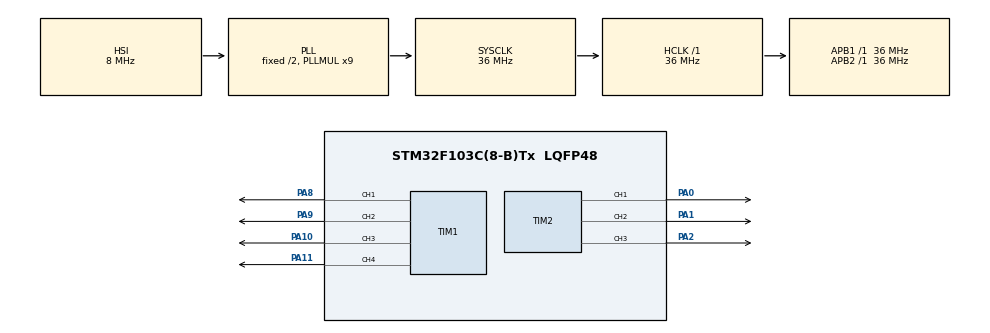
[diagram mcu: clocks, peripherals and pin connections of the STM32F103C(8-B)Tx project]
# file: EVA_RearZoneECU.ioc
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Dma.Request0=TIM1_CH1
Dma.Request1=TIM1_CH2
Dma.Request2=TIM1_CH3
Dma.Request3=TIM1_CH4/TRIG/COM
Dma.Request4=TIM2_CH1
Dma.Request5=TIM2_CH2/CH4
Dma.Request6=TIM2_CH3
Dma.TIM1_CH1.0.Direction=DMA_MEMORY_TO_PERIPH
Dma.TIM1_CH1.0.Instance=DMA1_Channel2
Dma.TIM1_CH1.0.MemDataAlignment=DMA_MDATAALIGN_BYTE
Dma.TIM1_CH1.0.MemInc=DMA_MINC_ENABLE
Dma.TIM1_CH1.0.Mode=DMA_NORMAL
Dma.TIM1_CH1.0.PeriphDataAlignment=DMA_PDATAALIGN_HALFWORD
Dma.TIM1_CH1.0.PeriphInc=DMA_PINC_DISABLE
Dma.TIM1_CH1.0.Priority=DMA_PRIORITY_LOW
Dma.TIM1_CH2.1.Direction=DMA_MEMORY_TO_PERIPH
Dma.TIM1_CH2.1.Instance=DMA1_Channel3
Dma.TIM1_CH2.1.MemDataAlignment=DMA_MDATAALIGN_BYTE
Dma.TIM1_CH2.1.MemInc=DMA_MINC_ENABLE
Dma.TIM1_CH2.1.Mode=DMA_NORMAL
Dma.TIM1_CH2.1.PeriphDataAlignment=DMA_PDATAALIGN_HALFWORD
Dma.TIM1_CH2.1.PeriphInc=DMA_PINC_DISABLE
Dma.TIM1_CH2.1.Priority=DMA_PRIORITY_LOW
Dma.TIM1_CH3.2.Direction=DMA_MEMORY_TO_PERIPH
Dma.TIM1_CH3.2.Instance=DMA1_Channel6
Dma.TIM1_CH3.2.MemDataAlignment=DMA_MDATAALIGN_BYTE
Dma.TIM1_CH3.2.MemInc=DMA_MINC_ENABLE
Dma.TIM1_CH3.2.Mode=DMA_NORMAL
Dma.TIM1_CH3.2.PeriphDataAlignment=DMA_PDATAALIGN_HALFWORD
Dma.TIM1_CH3.2.PeriphInc=DMA_PINC_DISABLE
Dma.TIM1_CH3.2.Priority=DMA_PRIORITY_LOW
Dma.TIM1_CH4/TRIG/COM.3.Direction=DMA_MEMORY_TO_PERIPH
Dma.TIM1_CH4/TRIG/COM.3.Instance=DMA1_Channel4
Dma.TIM1_CH4/TRIG/COM.3.MemDataAlignment=DMA_MDATAALIGN_BYTE
Dma.TIM1_CH4/TRIG/COM.3.MemInc=DMA_MINC_ENABLE
Dma.TIM1_CH4/TRIG/COM.3.Mode=DMA_NORMAL
Dma.TIM1_CH4/TRIG/COM.3.PeriphDataAlignment=DMA_PDATAALIGN_HALFWORD
Dma.TIM1_CH4/TRIG/COM.3.PeriphInc=DMA_PINC_DISABLE
Dma.TIM1_CH4/TRIG/COM.3.Priority=DMA_PRIORITY_LOW
Dma.TIM2_CH1.4.Direction=DMA_MEMORY_TO_PERIPH
Dma.TIM2_CH1.4.Instance=DMA1_Channel5
Dma.TIM2_CH1.4.MemDataAlignment=DMA_MDATAALIGN_BYTE
Dma.TIM2_CH1.4.MemInc=DMA_MINC_ENABLE
Dma.TIM2_CH1.4.Mode=DMA_NORMAL
Dma.TIM2_CH1.4.PeriphDataAlignment=DMA_PDATAALIGN_HALFWORD
Dma.TIM2_CH1.4.PeriphInc=DMA_PINC_DISABLE
Dma.TIM2_CH1.4.Priority=DMA_PRIORITY_LOW
Dma.TIM2_CH2/CH4.5.Direction=DMA_MEMORY_TO_PERIPH
Dma.TIM2_CH2/CH4.5.Instance=DMA1_Channel7
Dma.TIM2_CH2/CH4.5.MemDataAlignment=DMA_MDATAALIGN_HALFWORD
Dma.TIM2_CH2/CH4.5.MemInc=DMA_MINC_ENABLE
Dma.TIM2_CH2/CH4.5.Mode=DMA_NORMAL
Dma.TIM2_CH2/CH4.5.PeriphDataAlignment=DMA_PDATAALIGN_HALFWORD
Dma.TIM2_CH2/CH4.5.PeriphInc=DMA_PINC_DISABLE
Dma.TIM2_CH2/CH4.5.Priority=DMA_PRIORITY_LOW
Dma.TIM2_CH3.6.Direction=DMA_MEMORY_TO_PERIPH
Dma.TIM2_CH3.6.Instance=DMA1_Channel1
Dma.TIM2_CH3.6.MemDataAlignment=DMA_MDATAALIGN_BYTE
Dma.TIM2_CH3.6.MemInc=DMA_MINC_ENABLE
Dma.TIM2_CH3.6.Mode=DMA_NORMAL
Dma.TIM2_CH3.6.PeriphDataAlignment=DMA_PDATAALIGN_HALFWORD
Dma.TIM2_CH3.6.PeriphInc=DMA_PINC_DISABLE
Dma.TIM2_CH3.6.Priority=DMA_PRIORITY_LOW
Mcu.Family=STM32F1
Mcu.Name=STM32F103C(8-B)Tx
Mcu.Package=LQFP48
NVIC.DMA1_Channel1_IRQn=true\:0\:0\:false\:false\:true\:false\:true\:true
NVIC.DMA1_Channel2_IRQn=true\:0\:0\:false\:false\:true\:false\:true\:true
NVIC.DMA1_Channel3_IRQn=true\:0\:0\:false\:false\:true\:false\:true\:true
NVIC.DMA1_Channel4_IRQn=true\:0\:0\:false\:false\:true\:false\:true\:true
NVIC.DMA1_Channel5_IRQn=true\:0\:0\:false\:false\:true\:false\:true\:true
NVIC.DMA1_Channel6_IRQn=true\:0\:0\:false\:false\:true\:false\:true\:true
NVIC.DMA1_Channel7_IRQn=true\:0\:0\:false\:false\:true\:false\:true\:true
NVIC.PriorityGroup=NVIC_PRIORITYGROUP_4
NimaLTD.I-CUBE-WS28XX.3.0.0.DriverJjWS28XX=true
PA0-WKUP.Signal=S_TIM2_CH1_ETR
PA1.Signal=S_TIM2_CH2
PA10.Signal=S_TIM1_CH3
PA11.Signal=S_TIM1_CH4
PA2.Signal=S_TIM2_CH3
PA8.Signal=S_TIM1_CH1
PA9.Signal=S_TIM1_CH2
ProjectManager.HeapSize=0x200
ProjectManager.StackSize=0x400
ProjectManager.TargetToolchain=STM32CubeIDE
RCC.AHBFreq_Value=36000000
RCC.APB1Freq_Value=36000000
RCC.APB1TimFreq_Value=36000000
RCC.APB2Freq_Value=36000000
RCC.APB2TimFreq_Value=36000000
RCC.HCLKFreq_Value=36000000
RCC.PLLMUL=RCC_PLL_MUL9
RCC.SYSCLKFreq_VALUE=36000000
RCC.SYSCLKSource=RCC_SYSCLKSOURCE_PLLCLK
RCC.USBFreq_Value=36000000
SH.S_TIM1_CH1.0=TIM1_CH1,PWM Generation1 CH1
SH.S_TIM1_CH2.0=TIM1_CH2,PWM Generation2 CH2
SH.S_TIM1_CH3.0=TIM1_CH3,PWM Generation3 CH3
SH.S_TIM1_CH4.0=TIM1_CH4,PWM Generation4 CH4
SH.S_TIM2_CH1_ETR.0=TIM2_CH1,PWM Generation1 CH1
SH.S_TIM2_CH2.0=TIM2_CH2,PWM Generation2 CH2
SH.S_TIM2_CH3.0=TIM2_CH3,PWM Generation3 CH3
TIM1.Channel-PWM\ Generation1\ CH1=TIM_CHANNEL_1
TIM1.Channel-PWM\ Generation2\ CH2=TIM_CHANNEL_2
TIM1.Channel-PWM\ Generation3\ CH3=TIM_CHANNEL_3
TIM1.Channel-PWM\ Generation4\ CH4=TIM_CHANNEL_4
TIM2.Channel-PWM\ Generation1\ CH1=TIM_CHANNEL_1
TIM2.Channel-PWM\ Generation2\ CH2=TIM_CHANNEL_2
TIM2.Channel-PWM\ Generation3\ CH3=TIM_CHANNEL_3
VP_NimaLTD.I-CUBE-WS28XX_VS_DriverJjWS28XX_1.0.0_3.0.0.Mode=DriverJjWS28XX
VP_SYS_VS_ND.Mode=No_Debug
VP_TIM1_VS_ClockSourceINT.Mode=Internal
VP_TIM2_VS_ClockSourceINT.Mode=Internal
board=custom

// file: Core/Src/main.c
/* USER CODE BEGIN Header */
/**
  ******************************************************************************
  * @file           : main.c
  * @brief          : Main program body
  ******************************************************************************
  * @attention
  *
  * Copyright (c) 2024 STMicroelectronics.
  * All rights reserved.
  *
  * This software is licensed under terms that can be found in the LICENSE file
  * in the root directory of this software component.
  * If no LICENSE file comes with this software, it is provided AS-IS.
  *
  ******************************************************************************
  */
/* USER CODE END Header */
#include "main.h"
#include "dma.h"
#include "tim.h"
#include "gpio.h"

/* USER CODE BEGIN Includes */
#include "ws28xx.h"
#include "math.h"
#include "stdlib.h"
#include "stdbool.h"
#include "stdio.h"
/* USER CODE END Includes */

/* USER CODE BEGIN PTD */
typedef enum {
    OFF_STATE,
    STARTUP_MODE,
    POSITION_LIGHT_MODE,  // Marker Light
    BRAKE_LIGHT_MODE,
    TURN_SIGNAL_MODE,     // Turn Signal (Amber wave)
    HAZARD_MODE,           // Hazard (Amber blink)
	REVERSE_LIGHT_MODE    // White Light
} LED_State;

/* USER CODE END PTD */

/* USER CODE BEGIN PD */
#define Clock_Frequency 36000 //KHz

// Middle strip definition
#define MIDDLE_LED_COUNT 144
#define TOP_RIGHT_LED_COUNT 46
#define TOP_LEFT_LED_COUNT 46
#define LEFT_BOTTOM_LED_COUNT 46
#define RIGHT_BOTTOM_LED_COUNT 46
#define NUMBER_PLATE_LED_COUNT 28
#define HMSL_LED_COUNT 28
#define BRAKE_BRIGHTNESS 255
#define REVERSE_LIGHT_BRIGHTNESS 255
#define NUMBER_PLATE_BRIGHTNESS 255
#define POSITION_BRIGHTNESS 100
#define STARTUP_WAVE_SPEED 20
#define WAVE_PACKET_SIZE_MIDDLE 3
#define MIDDLE_LED_MID_INDEX (MIDDLE_LED_COUNT / 2)

#define WAVE_PACKET_SIZE 7
#define WAVE_SPEED 5 // Increase number to reduce speed
#define WAVE_STEP_SIZE 1
#define WAVE_PAUSE 10

#define HAZARD_BLINK_DELAY 500
#define DRL_BRIGHTNESS 255 // Max 255
/* USER CODE END PD */

/* USER CODE BEGIN PV */
WS28XX_HandleTypeDef ws_pa9;  // Middle LED Strip
WS28XX_HandleTypeDef ws_pa8;  // Left Top LED Strip
WS28XX_HandleTypeDef ws_pa10; // Right Top LED Strip
WS28XX_HandleTypeDef ws_pa0;  // Left Bottom LED Strip
WS28XX_HandleTypeDef ws_pa2;  // Right Bottom LED Strip
WS28XX_HandleTypeDef ws_pa1;  // Number Plate Light
WS28XX_HandleTypeDef ws_pa11; // HMSL
LED_State current_state_pa9 = OFF_STATE;
LED_State current_state_pa8 = OFF_STATE;
LED_State current_state_pa10 = OFF_STATE;

//Control flags
int brake_signal_received = 0;     // 1 if brake signal is received, 0 otherwise
int headlamp_signal_received = 1;  // 1 if headlamp is on, 0 otherwise
int startup_signal_received = 0;   // Initially active for startup mode
int turn_signal_left_received = 0;
int turn_signal_right_received = 0;
int hazard_signal_received = 0;
int reverse_signal_received = 0;

// Timing variables for wave animation
static int wave_count_middle = 0;
static int frame_left = MIDDLE_LED_MID_INDEX;
static int frame_right = MIDDLE_LED_MID_INDEX;
static uint8_t wave_direction = 0;  // 0 = outward, 1 = inward
static int last_update_time = 0;
static int sequential_turn_on = 0;
int frame_pa8 = 0;   // Left Top Strip (PA8)
int frame_pa10 = 0;  // Right Top Strip (PA10)

// Flickering prevention flags
int is_position_light_displayed = 0;
int is_brake_light_displayed = 0;
int is_position_light_displayed_left = 0;  // Left Top Strip (PA8)
int is_position_light_displayed_right = 0;  // Right Top Strip (PA10)
int is_reverse_light_displayed_left = 0;
int is_reverse_light_displayed_right = 0;
int is_number_plate_light_displayed = 0;
int is_hmsl_light_displayed = 0;
/* USER CODE END PV */

void SystemClock_Config(void);
void HandleMiddleStripState(void);
void HandleLeftTopStripState(void);
void HandleRightTopStripState(void);
void UpdateTurnSignalWave(WS28XX_HandleTypeDef* ws, int frame, int pixel_count);
void UpdateHazardBlink(int pixel_count);
void UpdateStartupWaveForMiddle(WS28XX_HandleTypeDef* ws);
void UpdatePositionLight(WS28XX_HandleTypeDef* ws, int pixel_count, int* is_position_light_displayed);
void UpdateBrakeLight(WS28XX_HandleTypeDef* ws, int pixel_count, int* is_brake_light_displayed);
void ResetLEDStrip(WS28XX_HandleTypeDef* ws, int pixel_count);
void HandleBottomLeftStripState(void);
void HandleBottomRightStripState(void);
void HandleNumberPlateLightState(void);
void HandleHMSLState(void);
void UpdateReverseLight(WS28XX_HandleTypeDef* ws, int pixel_count, int* is_light_displayed);
void UpdateNumberPlateLight(WS28XX_HandleTypeDef* ws, int pixel_count, int* is_light_displayed);
void UpdateHMSLLight(WS28XX_HandleTypeDef* ws, int pixel_count, int* is_light_displayed);

int main(void)
{

  /* MCU Configuration--------------------------------------------------------*/

  /* Reset of all peripherals, Initializes the Flash interface and the Systick. */
  HAL_Init();

  /* Configure the system clock */
  SystemClock_Config();

  /* Initialize all configured peripherals */
  MX_GPIO_Init();
  MX_DMA_Init();
  MX_TIM1_Init();
  MX_TIM2_Init();
  /* USER CODE BEGIN 2 */
  WS28XX_Init(&ws_pa8, &htim1, 36, TIM_CHANNEL_1, TOP_LEFT_LED_COUNT);   // Initialize for PA8
  WS28XX_Init(&ws_pa9, &htim1, 36, TIM_CHANNEL_2, MIDDLE_LED_COUNT); // Initialize for PA9 (middle strip)
  WS28XX_Init(&ws_pa10, &htim1, 36, TIM_CHANNEL_3, TOP_RIGHT_LED_COUNT); // Initialize for PA10

  /* USER CODE END 2 */

  /* Infinite loop */
  /* USER CODE BEGIN WHILE */
  while (1)
  {
	  HandleMiddleStripState();
	  HandleRightTopStripState();
	  HandleLeftTopStripState();
	  HandleBottomLeftStripState();
	  HandleBottomRightStripState();
	  HandleNumberPlateLightState();
	  HandleHMSLState();
    /* USER CODE END WHILE */

  }
}

void SystemClock_Config(void)
{
  RCC_OscInitTypeDef RCC_OscInitStruct = {0};
  RCC_ClkInitTypeDef RCC_ClkInitStruct = {0};

  /** Initializes the RCC Oscillators according to the specified parameters
  * in the RCC_OscInitTypeDef structure.
  */
  RCC_OscInitStruct.OscillatorType = RCC_OSCILLATORTYPE_HSI;
  RCC_OscInitStruct.HSIState = RCC_HSI_ON;
  RCC_OscInitStruct.HSICalibrationValue = RCC_HSICALIBRATION_DEFAULT;
  RCC_OscInitStruct.PLL.PLLState = RCC_PLL_ON;
  RCC_OscInitStruct.PLL.PLLSource = RCC_PLLSOURCE_HSI_DIV2;
  RCC_OscInitStruct.PLL.PLLMUL = RCC_PLL_MUL9;
  if (HAL_RCC_OscConfig(&RCC_OscInitStruct) != HAL_OK)
  {
    Error_Handler();
  }

  /** Initializes the CPU, AHB and APB buses clocks
  */
  RCC_ClkInitStruct.ClockType = RCC_CLOCKTYPE_HCLK|RCC_CLOCKTYPE_SYSCLK
                              |RCC_CLOCKTYPE_PCLK1|RCC_CLOCKTYPE_PCLK2;
  RCC_ClkInitStruct.SYSCLKSource = RCC_SYSCLKSOURCE_PLLCLK;
  RCC_ClkInitStruct.AHBCLKDivider = RCC_SYSCLK_DIV1;
  RCC_ClkInitStruct.APB1CLKDivider = RCC_HCLK_DIV1;
  RCC_ClkInitStruct.APB2CLKDivider = RCC_HCLK_DIV1;

  if (HAL_RCC_ClockConfig(&RCC_ClkInitStruct, FLASH_LATENCY_1) != HAL_OK)
  {
    Error_Handler();
  }
}

/* USER CODE BEGIN 4 */
void HandleMiddleStripState(void)
{
    // Check for brake light first
    if (brake_signal_received) {
        current_state_pa9 = BRAKE_LIGHT_MODE;
    }
    // If headlamp is on, switch to position light mode
    else if (headlamp_signal_received) {
        current_state_pa9 = POSITION_LIGHT_MODE;
    }
    // If no signals, check for startup mode
    else if (startup_signal_received) {
        current_state_pa9 = STARTUP_MODE;
    }
    // Default to off mode
    else {
        current_state_pa9 = OFF_STATE;
    }

    // State machine handling
    switch (current_state_pa9) {
        case BRAKE_LIGHT_MODE:
        	UpdateBrakeLight(&ws_pa9, MIDDLE_LED_COUNT, &is_brake_light_displayed);
        	is_position_light_displayed = 0;
            break;

        case POSITION_LIGHT_MODE:
        	UpdatePositionLight(&ws_pa9, MIDDLE_LED_COUNT, &is_position_light_displayed);
        	is_brake_light_displayed = 0;
            break;

        case STARTUP_MODE:
            UpdateStartupWaveForMiddle(&ws_pa9);  // Handle the red startup wave
            is_brake_light_displayed = 0;
            is_position_light_displayed = 0;
            break;

        case OFF_STATE:
        default:
            ResetLEDStrip(&ws_pa9, MIDDLE_LED_COUNT);  // Turn off all LEDs
            WS28XX_Update(&ws_pa9);
            is_brake_light_displayed = 0;
            is_position_light_displayed = 0;
            break;
    }
}

void HandleLeftTopStripState(void)
{
    // Determine the current state based on the signals received
    if (hazard_signal_received) {
        current_state_pa8 = HAZARD_MODE;
    }
    else if (turn_signal_left_received) {
        current_state_pa8 = TURN_SIGNAL_MODE;
    }
    else if (headlamp_signal_received) {
        current_state_pa8 = POSITION_LIGHT_MODE;  // Position light = marker light
    }
    else {
        current_state_pa8 = OFF_STATE;
    }

    // State machine handling for PA8 (Left Top Strip)
    switch (current_state_pa8) {
        case TURN_SIGNAL_MODE:
            UpdateTurnSignalWave(&ws_pa8, frame_pa8, TOP_LEFT_LED_COUNT);  // Amber wave effect
            frame_pa8 += WAVE_STEP_SIZE;
            if (frame_pa8 >= TOP_LEFT_LED_COUNT) frame_pa8 = 0;
            HAL_Delay(WAVE_SPEED);
            is_position_light_displayed_left = 0;  // Reset position light flag
            break;

        case HAZARD_MODE:
            UpdateHazardBlink(TOP_LEFT_LED_COUNT);  // Amber blink
            HAL_Delay(HAZARD_BLINK_DELAY);
            is_position_light_displayed_left = 0;  // Reset position light flag
            break;

        case POSITION_LIGHT_MODE:
            UpdatePositionLight(&ws_pa8, TOP_LEFT_LED_COUNT, &is_position_light_displayed_left);  // Marker/position light
            break;

        case OFF_STATE:
        default:
            ResetLEDStrip(&ws_pa8, TOP_LEFT_LED_COUNT);  // Turn off all LEDs
            WS28XX_Update(&ws_pa8);
            is_position_light_displayed_left = 0;  // Reset position light flag
            break;
    }
}

void HandleRightTopStripState(void)
{
    // Determine the current state based on the signals received
    if (hazard_signal_received) {
        current_state_pa10 = HAZARD_MODE;
    }
    else if (turn_signal_right_received) {
        current_state_pa10 = TURN_SIGNAL_MODE;
    }
    else if (headlamp_signal_received) {
        current_state_pa10 = POSITION_LIGHT_MODE;  // Position light = marker light
    }
    else {
        current_state_pa10 = OFF_STATE;
    }

    // State machine handling for PA10 (Right Top Strip)
    switch (current_state_pa10) {
        case TURN_SIGNAL_MODE:
            UpdateTurnSignalWave(&ws_pa10, frame_pa10, TOP_RIGHT_LED_COUNT);  // Amber wave effect
            frame_pa10 += WAVE_STEP_SIZE;
            if (frame_pa10 >= TOP_RIGHT_LED_COUNT) frame_pa10 = 0;
            HAL_Delay(WAVE_SPEED);
            is_position_light_displayed_right = 0;  // Reset position light flag
            break;

        case HAZARD_MODE:
            UpdateHazardBlink(TOP_RIGHT_LED_COUNT);  // Amber blink
            HAL_Delay(HAZARD_BLINK_DELAY);
            is_position_light_displayed_right = 0;  // Reset position light flag
            break;

        case POSITION_LIGHT_MODE:
            UpdatePositionLight(&ws_pa10, TOP_RIGHT_LED_COUNT, &is_position_light_displayed_right);  // Marker/position light
            break;

        case OFF_STATE:
        default:
            ResetLEDStrip(&ws_pa10, TOP_RIGHT_LED_COUNT);  // Turn off all LEDs
            WS28XX_Update(&ws_pa10);
            is_position_light_displayed_right = 0;  // Reset position light flag
            break;
    }
}

void UpdateStartupWaveForMiddle(WS28XX_HandleTypeDef* ws)
{
    int current_time = HAL_GetTick();

    // First phase: Two passes (outward and inward)
    if (wave_count_middle < 2) {
        if (current_time - last_update_time >= STARTUP_WAVE_SPEED) {
            // Outward wave movement
            if (wave_direction == 0) {
                ResetLEDStrip(ws, MIDDLE_LED_COUNT);  // Clear LEDs
                for (int i = 0; i < WAVE_PACKET_SIZE_MIDDLE; i++) {
                    if (frame_left - i >= 0) {
                        WS28XX_SetPixel_RGBW_565(ws, frame_left - i, COLOR_RGB565_RED, POSITION_BRIGHTNESS);
                    }
                    if (frame_right + i < MIDDLE_LED_COUNT) {
                        WS28XX_SetPixel_RGBW_565(ws, frame_right + i, COLOR_RGB565_RED, POSITION_BRIGHTNESS);
                    }
                }
                WS28XX_Update(ws);

                frame_left--;
                frame_right++;

                if (frame_left < 0 && frame_right >= MIDDLE_LED_COUNT) {
                    wave_direction = 1;  // Switch to inward direction
                }
            }
            // Inward wave movement
            else if (wave_direction == 1) {
                ResetLEDStrip(ws, MIDDLE_LED_COUNT);  // Clear LEDs
                for (int i = 0; i < WAVE_PACKET_SIZE_MIDDLE; i++) {
                    if (frame_left + i < MIDDLE_LED_MID_INDEX) {
                        WS28XX_SetPixel_RGBW_565(ws, frame_left + i, COLOR_RGB565_RED, POSITION_BRIGHTNESS);
                    }
                    if (frame_right - i >= MIDDLE_LED_MID_INDEX) {
                        WS28XX_SetPixel_RGBW_565(ws, frame_right - i, COLOR_RGB565_RED, POSITION_BRIGHTNESS);
                    }
                }
                WS28XX_Update(ws);

                frame_left++;
                frame_right--;

                if (frame_left >= MIDDLE_LED_MID_INDEX && frame_right <= MIDDLE_LED_MID_INDEX) {
                    frame_left = MIDDLE_LED_MID_INDEX;
                    frame_right = MIDDLE_LED_MID_INDEX;
                    wave_direction = 0;  // Reset for the next outward wave
                    wave_count_middle++;
                }
            }
            last_update_time = current_time;
        }
    }
    // Second phase: Sequential turn-on
    else if (sequential_turn_on < MIDDLE_LED_MID_INDEX) {
        if (current_time - last_update_time >= STARTUP_WAVE_SPEED * 2) {
            WS28XX_SetPixel_RGBW_565(ws, MIDDLE_LED_MID_INDEX - sequential_turn_on, COLOR_RGB565_RED, POSITION_BRIGHTNESS);
            WS28XX_SetPixel_RGBW_565(ws, MIDDLE_LED_MID_INDEX + sequential_turn_on, COLOR_RGB565_RED, POSITION_BRIGHTNESS);

            WS28XX_Update(ws);
            sequential_turn_on++;

            last_update_time = current_time;
        }
    }
    // Transition complete (go to OFF_STATE after the startup wave)
    else {
        wave_count_middle = 0;
        sequential_turn_on = 0;
        startup_signal_received = 0;  // Disable startup signal after animation completes
        current_state_pa9 = OFF_STATE;  // Move to off state
    }
}

void UpdatePositionLight(WS28XX_HandleTypeDef* ws, int pixel_count, int* is_position_light_displayed)
{
    if (*is_position_light_displayed) {
        return;  // Avoid redundant refreshes (prevent flickering)
    }

    ResetLEDStrip(ws, pixel_count);  // Clear previous state

    for (int i = 0; i < pixel_count; i++) {
        WS28XX_SetPixel_RGBW_565(ws, i, COLOR_RGB565_RED, POSITION_BRIGHTNESS);  // 50% brightness red
    }

    WS28XX_Update(ws);
    *is_position_light_displayed = 1;
}

void UpdateBrakeLight(WS28XX_HandleTypeDef* ws, int pixel_count, int* is_brake_light_displayed)
{
    if (*is_brake_light_displayed) {
        return;  // Avoid redundant refreshes (prevent flickering)
    }

    ResetLEDStrip(ws, pixel_count);  // Clear previous state

    for (int i = 0; i < pixel_count; i++) {
        WS28XX_SetPixel_RGBW_565(ws, i, COLOR_RGB565_RED, BRAKE_BRIGHTNESS);  // Full brightness red
    }

    WS28XX_Update(ws);
    *is_brake_light_displayed = 1;
}

void UpdateTurnSignalWave(WS28XX_HandleTypeDef* ws, int frame, int pixel_count)
{
    ResetLEDStrip(ws, pixel_count);  // Clear all LEDs
    for (int i = 0; i < pixel_count; i++) {
        if (i >= frame && i < frame + WAVE_PACKET_SIZE) {
            WS28XX_SetPixel_RGBW_565(ws, i, COLOR_RGB565_AMBER, 255);  // Amber wave
        }
    }
    WS28XX_Update(ws);
}

void UpdateHazardBlink(int pixel_count)
{
    static int blink_on = 0;

    for (int i = 0; i < pixel_count; i++) {
        if (blink_on) {
        	WS28XX_SetPixel_RGBW_565(&ws_pa10, i, COLOR_RGB565_AMBER, BRAKE_BRIGHTNESS);   // Amber on for right strip
            WS28XX_SetPixel_RGBW_565(&ws_pa8, i, COLOR_RGB565_AMBER, BRAKE_BRIGHTNESS);   // Amber on for left strip
        } else {
            WS28XX_SetPixel_RGBW_565(&ws_pa8, i, COLOR_RGB565_BLACK, 0);  // Off for left strip
            WS28XX_SetPixel_RGBW_565(&ws_pa10, i, COLOR_RGB565_BLACK, 0);  // Off for right strip
        }
    }

    blink_on = !blink_on;
    WS28XX_Update(&ws_pa8);
    WS28XX_Update(&ws_pa10);
}

void HandleBottomLeftStripState(void)
{
    if (reverse_signal_received) {
        UpdateReverseLight(&ws_pa0, LEFT_BOTTOM_LED_COUNT, &is_reverse_light_displayed_left);
    } else {
        ResetLEDStrip(&ws_pa0, LEFT_BOTTOM_LED_COUNT);
        WS28XX_Update(&ws_pa0);
        is_reverse_light_displayed_left = 0;
    }
}

void HandleBottomRightStripState(void)
{
    if (reverse_signal_received) {
        UpdateReverseLight(&ws_pa2, RIGHT_BOTTOM_LED_COUNT, &is_reverse_light_displayed_right);
    } else {
        ResetLEDStrip(&ws_pa2, RIGHT_BOTTOM_LED_COUNT);
        WS28XX_Update(&ws_pa2);
        is_reverse_light_displayed_right = 0;
    }
}

void HandleNumberPlateLightState(void)
{
    if (headlamp_signal_received) {
        UpdateNumberPlateLight(&ws_pa1, NUMBER_PLATE_LED_COUNT, &is_number_plate_light_displayed);
    } else {
        ResetLEDStrip(&ws_pa1, NUMBER_PLATE_LED_COUNT);
        WS28XX_Update(&ws_pa1);
        is_number_plate_light_displayed = 0;
    }
}

void HandleHMSLState(void)
{
    if (brake_signal_received) {
        UpdateHMSLLight(&ws_pa11, HMSL_LED_COUNT, &is_hmsl_light_displayed);
    } else {
        ResetLEDStrip(&ws_pa11, HMSL_LED_COUNT);
        WS28XX_Update(&ws_pa11);
        is_hmsl_light_displayed = 0;
    }
}

/* Helper Functions */
void UpdateReverseLight(WS28XX_HandleTypeDef* ws, int pixel_count, int* is_light_displayed)
{
    if (*is_light_displayed) {
        return;  // Avoid redundant refreshes (prevent flickering)
    }

    ResetLEDStrip(ws, pixel_count);  // Clear previous state

    for (int i = 0; i < pixel_count; i++) {
        WS28XX_SetPixel_RGBW_565(ws, i, COLOR_RGB565_WHITE, REVERSE_LIGHT_BRIGHTNESS);
    }

    WS28XX_Update(ws);
    *is_light_displayed = 1;
}

void UpdateNumberPlateLight(WS28XX_HandleTypeDef* ws, int pixel_count, int* is_light_displayed)
{
    if (*is_light_displayed) {
        return;  // Avoid redundant refreshes (prevent flickering)
    }

    ResetLEDStrip(ws, pixel_count);  // Clear previous state

    for (int i = 0; i < pixel_count; i++) {
        WS28XX_SetPixel_RGBW_565(ws, i, COLOR_RGB565_WHITE, NUMBER_PLATE_BRIGHTNESS);
    }

    WS28XX_Update(ws);
    *is_light_displayed = 1;
}

void UpdateHMSLLight(WS28XX_HandleTypeDef* ws, int pixel_count, int* is_light_displayed)
{
    if (*is_light_displayed) {
        return;  // Avoid redundant refreshes (prevent flickering)
    }

    ResetLEDStrip(ws, pixel_count);  // Clear previous state

    for (int i = 0; i < pixel_count; i++) {
        WS28XX_SetPixel_RGBW_565(ws, i, COLOR_RGB565_RED, BRAKE_BRIGHTNESS);
    }

    WS28XX_Update(ws);
    *is_light_displayed = 1;
}

void ResetLEDStrip(WS28XX_HandleTypeDef* ws, int pixel_count)
{
    for (int i = 0; i < pixel_count; i++) {
        WS28XX_SetPixel_RGBW_565(ws, i, COLOR_RGB565_BLACK, 0);  // Turn off each LED
    }
    WS28XX_Update(ws);
}

/* USER CODE END 4 */

void Error_Handler(void)
{
  __disable_irq();
  while (1)
  {
  }
}
